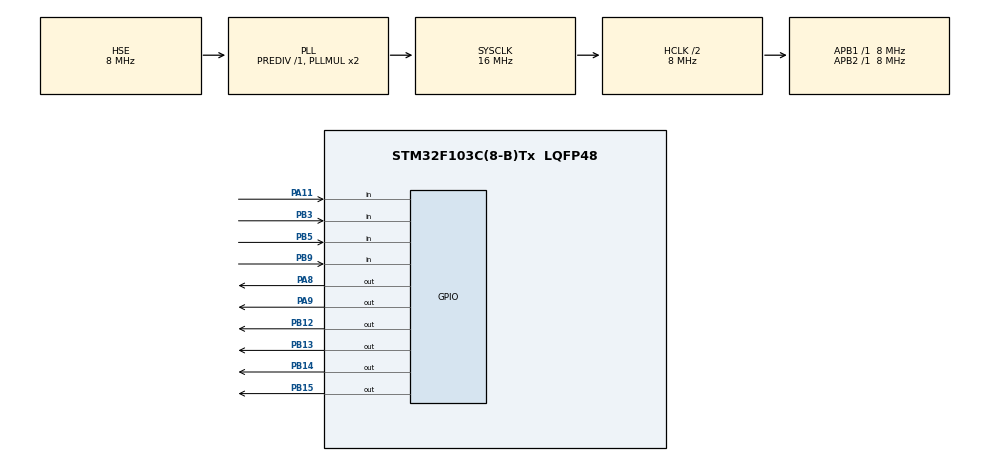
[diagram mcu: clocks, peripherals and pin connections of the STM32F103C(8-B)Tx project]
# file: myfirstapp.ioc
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Mcu.Family=STM32F1
Mcu.Name=STM32F103C(8-B)Tx
Mcu.Package=LQFP48
NVIC.PriorityGroup=NVIC_PRIORITYGROUP_4
PA11.GPIO_PuPd=GPIO_PULLUP
PA11.Signal=GPIO_Input
PA13.Mode=Serial_Wire
PA13.Signal=SYS_JTMS-SWDIO
PA14.Mode=Serial_Wire
PA14.Signal=SYS_JTCK-SWCLK
PA8.Signal=GPIO_Output
PA9.GPIO_PuPd=GPIO_NOPULL
PA9.Signal=GPIO_Output
PB12.Signal=GPIO_Output
PB13.Signal=GPIO_Output
PB14.Signal=GPIO_Output
PB15.Signal=GPIO_Output
PB3.GPIO_PuPd=GPIO_PULLUP
PB3.Signal=GPIO_Input
PB5.GPIO_PuPd=GPIO_PULLUP
PB5.Signal=GPIO_Input
PB9.GPIO_PuPd=GPIO_PULLUP
PB9.Signal=GPIO_Input
PD0-OSC_IN.Mode=HSE-External-Oscillator
PD0-OSC_IN.Signal=RCC_OSC_IN
PD1-OSC_OUT.Mode=HSE-External-Oscillator
PD1-OSC_OUT.Signal=RCC_OSC_OUT
ProjectManager.HeapSize=0x200
ProjectManager.StackSize=0x400
ProjectManager.TargetToolchain=STM32CubeIDE
RCC.AHBCLKDivider=RCC_SYSCLK_DIV2
RCC.AHBFreq_Value=8000000
RCC.APB1Freq_Value=8000000
RCC.APB1TimFreq_Value=8000000
RCC.APB2Freq_Value=8000000
RCC.APB2TimFreq_Value=8000000
RCC.HCLKFreq_Value=8000000
RCC.PLLSourceVirtual=RCC_PLLSOURCE_HSE
RCC.SYSCLKFreq_VALUE=16000000
RCC.SYSCLKSource=RCC_SYSCLKSOURCE_PLLCLK
RCC.USBFreq_Value=16000000
board=custom

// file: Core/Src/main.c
/* USER CODE BEGIN Header */
/**
  ******************************************************************************
  * @file           : main.c
  * @brief          : Main program body
  ******************************************************************************
  * @attention
  *
  * Copyright (c) 2024 STMicroelectronics.
  * All rights reserved.
  *
  * This software is licensed under terms that can be found in the LICENSE file
  * in the root directory of this software component.
  * If no LICENSE file comes with this software, it is provided AS-IS.
  *
  ******************************************************************************
  */
/* USER CODE END Header */
#include "main.h"

/* USER CODE BEGIN Includes */
#include "math.h"
#include "string.h"
#include "stdio.h"
#include <stdbool.h>
#include "lcd_txt.h"
#include "float.h"
/* USER CODE END Includes */

/* USER CODE BEGIN PTD */
enum FunctionType {
    sine = 0,
    cosine = 1
};
enum OperationType {
    integration = 0,
    derivation = 1
};
enum Alignment {
    topCenter,
    topStart,
    topEnd,
    bottomCenter,
    bottomStart,
    bottomEnd,

};
/* USER CODE END PTD */

void SystemClock_Config(void);

static void MX_GPIO_Init(void);

/* USER CODE BEGIN PFP */

double derivative(enum FunctionType fun, double x, double n) {
    double h = sqrt(n);
    if (fun == sine) {
        return (sin(x + h) - sin(x - h)) / (2.0 * h);
    } else if (fun == cosine) {
        return (cos(x + h) - cos(x - h)) / (2.0 * h);
    } else {
        return 0;
    }
}

double trapezoidalIntegral(enum FunctionType fun, double a, double b, double n) {
    double h = (b - a) / n;
    double integral = 0.0;
    for (int i = 0; i <= n; ++i) {
        double x = a + i * h;
        double weight = (i == 0 || i == n) ? 0.5 : 1.0;
        if (fun == sine) {
            integral += weight * sin(x);
        } else if (fun == cosine) {
            integral += weight * cos(x);
        }
    }
    integral *= h;
    return integral;
}

void printToScreen(const char *message, enum Alignment alignment) {
    int columnCount = 16;
    int messageSize = (int) strlen(message);
    switch (alignment) {
        case (topStart):
            LCD_Puts(0, 0, (int8_t *) message);
            break;
        case (topCenter):
            LCD_Puts(0, ((columnCount - messageSize) / 2), (int8_t *) message);
            break;
        case (topEnd):
            LCD_Puts(0, ((columnCount - messageSize)), (int8_t *) message);
            break;
        case (bottomStart):
            LCD_Puts(1, 0, (int8_t *) message);
            break;
        case (bottomCenter):
            LCD_Puts(1, ((columnCount - messageSize) / 2), (int8_t *) message);
            break;
        case (bottomEnd):
            LCD_Puts(1, ((columnCount - messageSize)), (int8_t *) message);
            break;
        default:
            break;
    }

}

enum FunctionType selectFunction(bool *exit) {
    char *selectionStr[2] = {"Sin(x)", "Cos(x)"};
    printToScreen("Select", topCenter);
    printToScreen(selectionStr[0], bottomStart);
    printToScreen(selectionStr[1], bottomEnd);
    enum FunctionType choices[] = {sine, cosine};
    char displayStr[6];
    int i = 1;
    enum FunctionType selected = choices[i];
    bool configured = false;
    while (!configured) {
        // settings
        if (HAL_GPIO_ReadPin(GPIOB, GPIO_PIN_5) == 0) {
            *exit = true;
            break;
        }
        // inc - dec
        if ((HAL_GPIO_ReadPin(GPIOA, GPIO_PIN_11) == 0) || (HAL_GPIO_ReadPin(GPIOB, GPIO_PIN_3) == 0)) {
            ++i;
            i = (i) % 2;
            selected = choices[i];
            sprintf(displayStr, "%s", selectionStr[i]);
            if (selected == sine) {
                LCD_Clear_RC(1, 10, 6);
                printToScreen(displayStr, bottomStart);
            } else {
                LCD_Clear_RC(1, 0, 6);
                printToScreen(displayStr, bottomEnd);
            }
        }
        // ok
        if (HAL_GPIO_ReadPin(GPIOB, GPIO_PIN_9) == 0) {
            LCD_Clear();
            configured = true;
        }
        HAL_Delay(150);
    }
    return selected;
}

enum OperationType selectOperation(bool *exit) {
    char *selectionStr[2] = {"Diff", "Integ"};
    printToScreen("Select", topCenter);
    printToScreen(selectionStr[0], bottomStart);
    printToScreen(selectionStr[1], bottomEnd);
    enum OperationType choices[] = {derivation, integration};
    char displayStr[5];
    int i = 1;
    enum OperationType selected = choices[i];
    bool configured = false;
    while (!configured) {
        // settings
        if (HAL_GPIO_ReadPin(GPIOB, GPIO_PIN_5) == 0) {
            *exit = true;
            break;
        }
        // inc - dec
        if ((HAL_GPIO_ReadPin(GPIOA, GPIO_PIN_11) == 0) || (HAL_GPIO_ReadPin(GPIOB, GPIO_PIN_3) == 0)) {
            ++i;
            i = i % 2;
            selected = choices[i];
            sprintf(displayStr, "%s", selectionStr[i]);
            if (selected == derivation) {
                LCD_Clear_RC(1, 10, 6);
                printToScreen(displayStr, bottomStart);
            } else {
                LCD_Clear_RC(1, 0, 6);
                printToScreen(displayStr, bottomEnd);
            }
        }
        // ok
        if (HAL_GPIO_ReadPin(GPIOB, GPIO_PIN_9) == 0) {
            LCD_Clear();
            configured = true;
        }
        HAL_Delay(150);
    }
    LCD_Clear();
    return selected;
}

void selectPoints(enum OperationType operationType, bool *exit, double *points) {
    char *pointsStr[2] = {"", ""};
    char *x1Str = "X1=";
    char *x2Str = "X2=";
    char *xStr = "X=";
    bool configured[2] = {false, false};
    int currentPointIndex = 0;
    LCD_Clear();
    while (!configured[0] || !configured[1]) {

        printToScreen("Select points:", topCenter);
        if (!configured[0]) {
            // first point
            if (operationType == derivation) {
                configured[1] = true;
            }
            sprintf(pointsStr[0], "%.2f", points[0]);
            if (operationType == derivation) {
                printToScreen(xStr, bottomStart);
            } else {
                printToScreen(x1Str, bottomStart);
            }

            printToScreen(pointsStr[0], bottomEnd);

        } else if (!configured[1]) {
            // second point
            sprintf(pointsStr[1], "%.2f", points[1]);
            printToScreen(x2Str, bottomStart);
            printToScreen(pointsStr[1], bottomEnd);
        }
        // settings
        if (HAL_GPIO_ReadPin(GPIOB, GPIO_PIN_5) == 0) {
            *exit = true;
            break;
        }
        // ok
        if (HAL_GPIO_ReadPin(GPIOB, GPIO_PIN_9) == 0) {
            if (!configured[0]) {
                ++currentPointIndex;
                configured[0] = true;
                LCD_Clear();
            } else {
                configured[1] = true;
            }
        }
        // inc
        if (HAL_GPIO_ReadPin(GPIOA, GPIO_PIN_11) == 0) {
            points[currentPointIndex] += .5f;
        }
        // dec
        if (HAL_GPIO_ReadPin(GPIOB, GPIO_PIN_3) == 0) {
            points[currentPointIndex] -= .5f;
        }
        HAL_Delay(125);
    }
    LCD_Clear();
}

void printResult(enum OperationType operationType, double result) {
    char str[20] = {};
    sprintf(str, "%.4f", result);
    if (operationType == derivation) {
        printToScreen("Diff-Result:", topCenter);
    } else {
        printToScreen("Integ-Result:", topCenter);
    }
    printToScreen(str, bottomStart);
}

/* USER CODE END PFP */

int main(void) {

    /* MCU Configuration--------------------------------------------------------*/

    /* Reset of all peripherals, Initializes the Flash interface and the Systick. */
    HAL_Init();

    /* Configure the system clock */
    SystemClock_Config();

    /* Initialize all configured peripherals */
    MX_GPIO_Init();
    /* USER CODE BEGIN 2 */

    LCD_Init(); // initialize the lcd screen
    LCD_Puts(0, 2, (int8_t *) "Welcome :)");
    LCD_Puts(1, 2, (int8_t *) "PLease Wait");

    /* USER CODE END 2 */

    /* Infinite loop */
    /* USER CODE BEGIN WHILE */
    while (1) {

        HAL_Delay(2000);
        LCD_Clear();
        bool exit = false;

        while (!exit) {

            HAL_Delay(200);
            // select function
            enum FunctionType fn = selectFunction(&exit);
            if (exit) {
                break;
            }
            HAL_Delay(200);
            // select operation
            enum OperationType op = selectOperation(&exit);
            if (exit) {
                break;
            }
            HAL_Delay(200);
            // select point/s
            double points[2] = {.0f, .0f};
            selectPoints(op, &exit, points);
            if (exit) {
                break;
            }
            HAL_Delay(200);
            // show result
            double result = .0f;
            double n = DBL_EPSILON;
            if (op == derivation) {
                result = derivative(fn, points[0], n);
            } else if (op == integration) {
                result = trapezoidalIntegral(fn, points[0], points[1], n);
            }
            printResult(op, result);

            // wait for ok to restart
            while (1) {
                if (HAL_GPIO_ReadPin(GPIOB, GPIO_PIN_9) == 0) {
                    LCD_Clear();
                    exit = true;
                    break;
                }
            }

        }

        /* USER CODE END WHILE */

    }
}

void SystemClock_Config(void) {
    RCC_OscInitTypeDef RCC_OscInitStruct = {0};
    RCC_ClkInitTypeDef RCC_ClkInitStruct = {0};

    /** Initializes the RCC Oscillators according to the specified parameters
    * in the RCC_OscInitTypeDef structure.
    */
    RCC_OscInitStruct.OscillatorType = RCC_OSCILLATORTYPE_HSE;
    RCC_OscInitStruct.HSEState = RCC_HSE_ON;
    RCC_OscInitStruct.HSEPredivValue = RCC_HSE_PREDIV_DIV1;
    RCC_OscInitStruct.HSIState = RCC_HSI_ON;
    RCC_OscInitStruct.PLL.PLLState = RCC_PLL_ON;
    RCC_OscInitStruct.PLL.PLLSource = RCC_PLLSOURCE_HSE;
    RCC_OscInitStruct.PLL.PLLMUL = RCC_PLL_MUL2;
    if (HAL_RCC_OscConfig(&RCC_OscInitStruct) != HAL_OK) {
        Error_Handler();
    }

    /** Initializes the CPU, AHB and APB buses clocks
    */
    RCC_ClkInitStruct.ClockType = RCC_CLOCKTYPE_HCLK | RCC_CLOCKTYPE_SYSCLK
                                  | RCC_CLOCKTYPE_PCLK1 | RCC_CLOCKTYPE_PCLK2;
    RCC_ClkInitStruct.SYSCLKSource = RCC_SYSCLKSOURCE_PLLCLK;
    RCC_ClkInitStruct.AHBCLKDivider = RCC_SYSCLK_DIV2;
    RCC_ClkInitStruct.APB1CLKDivider = RCC_HCLK_DIV1;
    RCC_ClkInitStruct.APB2CLKDivider = RCC_HCLK_DIV1;

    if (HAL_RCC_ClockConfig(&RCC_ClkInitStruct, FLASH_LATENCY_0) != HAL_OK) {
        Error_Handler();
    }
}

static void MX_GPIO_Init(void) {
    GPIO_InitTypeDef GPIO_InitStruct = {0};

    /* GPIO Ports Clock Enable */
    __HAL_RCC_GPIOD_CLK_ENABLE();
    __HAL_RCC_GPIOB_CLK_ENABLE();
    __HAL_RCC_GPIOA_CLK_ENABLE();

    /*Configure GPIO pin Output Level */
    HAL_GPIO_WritePin(GPIOB, GPIO_PIN_12 | GPIO_PIN_13 | GPIO_PIN_14 | GPIO_PIN_15, GPIO_PIN_RESET);

    /*Configure GPIO pin Output Level */
    HAL_GPIO_WritePin(GPIOA, GPIO_PIN_8 | GPIO_PIN_9, GPIO_PIN_RESET);

    /*Configure GPIO pins : PB12 PB13 PB14 PB15 */
    GPIO_InitStruct.Pin = GPIO_PIN_12 | GPIO_PIN_13 | GPIO_PIN_14 | GPIO_PIN_15;
    GPIO_InitStruct.Mode = GPIO_MODE_OUTPUT_PP;
    GPIO_InitStruct.Pull = GPIO_NOPULL;
    GPIO_InitStruct.Speed = GPIO_SPEED_FREQ_LOW;
    HAL_GPIO_Init(GPIOB, &GPIO_InitStruct);

    /*Configure GPIO pins : PA8 PA9 */
    GPIO_InitStruct.Pin = GPIO_PIN_8 | GPIO_PIN_9;
    GPIO_InitStruct.Mode = GPIO_MODE_OUTPUT_PP;
    GPIO_InitStruct.Pull = GPIO_NOPULL;
    GPIO_InitStruct.Speed = GPIO_SPEED_FREQ_LOW;
    HAL_GPIO_Init(GPIOA, &GPIO_InitStruct);

    /*Configure GPIO pin : PA11 */
    GPIO_InitStruct.Pin = GPIO_PIN_11;
    GPIO_InitStruct.Mode = GPIO_MODE_INPUT;
    GPIO_InitStruct.Pull = GPIO_PULLUP;
    HAL_GPIO_Init(GPIOA, &GPIO_InitStruct);

    /*Configure GPIO pins : PB3 PB5 PB9 */
    GPIO_InitStruct.Pin = GPIO_PIN_3 | GPIO_PIN_5 | GPIO_PIN_9;
    GPIO_InitStruct.Mode = GPIO_MODE_INPUT;
    GPIO_InitStruct.Pull = GPIO_PULLUP;
    HAL_GPIO_Init(GPIOB, &GPIO_InitStruct);

}

void Error_Handler(void) {
    __disable_irq();
    while (1) {
    }
}
